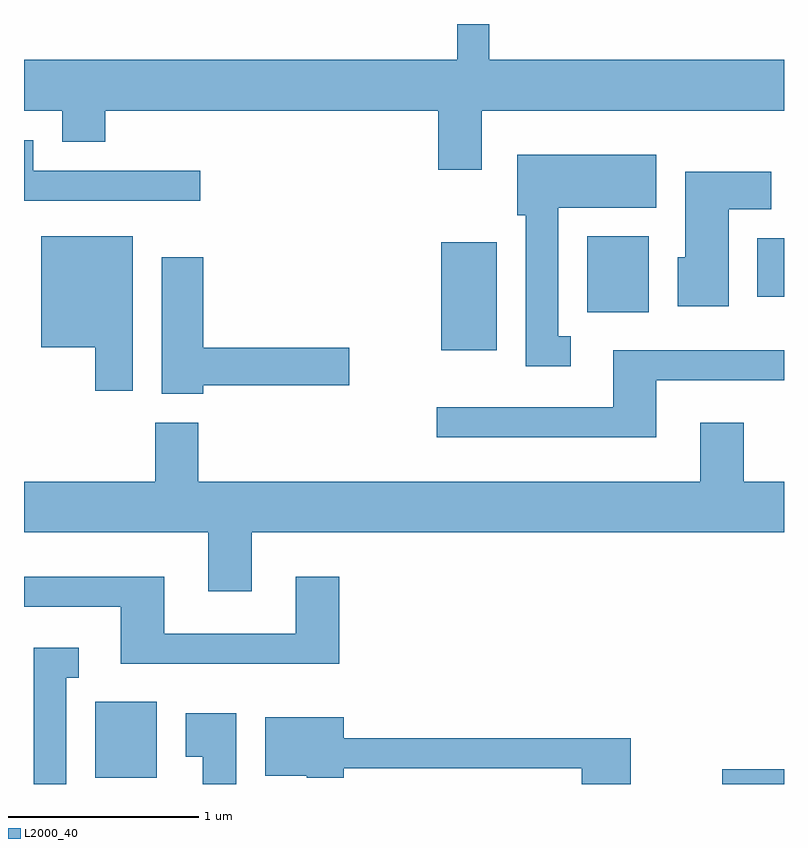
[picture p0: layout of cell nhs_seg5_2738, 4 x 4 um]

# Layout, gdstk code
import gdstk
lib = gdstk.Library(unit=1e-6, precision=1e-09)
def R(c, l, rs):  # rectangles x0, y0, x1, y1
    for r in rs: c.add(gdstk.rectangle(r[:2], r[2:], *l))
def P(c, l, *ps):  # polygons
    for p in ps: c.add(gdstk.Polygon(p, *l))
L2000_40 = (2000, 40)

nhs_seg5_2738 = lib.new_cell('nhs_seg5_2738')
R(nhs_seg5_2738, L2000_40, [(269.286,1522.072,269.611,1522.149), (265.986,1522.106,266.309,1522.504), (267.806,1524.356,268.099,1524.924), (268.576,1524.556,268.899,1524.954), (269.471,1524.636,269.611,1524.944)])
P(nhs_seg5_2738, L2000_40, [(268.019,1525.616),(269.611,1525.616),(269.611,1525.884),(268.059,1525.884),(268.059,1526.072),(267.891,1526.072),(267.891,1525.884),(265.611,1525.884),(265.611,1525.616),(265.811,1525.616),(265.811,1525.451),(266.039,1525.451),(266.039,1525.616),(267.791,1525.616),(267.791,1525.306),(268.019,1525.306)],
  [(266.538,1525.299),(265.659,1525.299),(265.659,1525.459),(265.611,1525.459),(265.611,1525.141),(266.538,1525.141)],
  [(268.488,1524.429),(268.424,1524.429),(268.424,1525.106),(268.939,1525.106),(268.939,1525.384),(268.206,1525.384),(268.206,1525.066),(268.251,1525.066),(268.251,1524.271),(268.488,1524.271)],
  [(269.319,1525.096),(269.544,1525.096),(269.544,1525.294),(269.091,1525.294),(269.091,1524.844),(269.051,1524.844),(269.051,1524.586),(269.319,1524.586)],
  [(266.184,1524.954),(265.701,1524.954),(265.701,1524.371),(265.986,1524.371),(265.986,1524.141),(266.184,1524.141)],
  [(266.554,1524.171),(267.324,1524.171),(267.324,1524.369),(266.554,1524.369),(266.554,1524.844),(266.336,1524.844),(266.336,1524.126),(266.554,1524.126)],
  [(268.939,1524.196),(269.611,1524.196),(269.611,1524.354),(268.711,1524.354),(268.711,1524.054),(267.783,1524.054),(267.783,1523.896),(268.939,1523.896)],
  [(266.809,1523.396),(269.611,1523.396),(269.611,1523.664),(269.399,1523.664),(269.399,1523.974),(269.171,1523.974),(269.171,1523.664),(266.529,1523.664),(266.529,1523.974),(266.301,1523.974),(266.301,1523.664),(265.611,1523.664),(265.611,1523.396),(266.581,1523.396),(266.581,1523.086),(266.809,1523.086)],
  [(267.269,1523.164),(267.041,1523.164),(267.041,1522.864),(266.349,1522.864),(266.349,1523.164),(265.611,1523.164),(265.611,1523.006),(266.121,1523.006),(266.121,1522.706),(267.269,1522.706)],
  [(265.834,1522.631),(265.898,1522.631),(265.898,1522.789),(265.661,1522.789),(265.661,1522.072),(265.834,1522.072)],
  [(266.729,1522.444),(266.461,1522.444),(266.461,1522.216),(266.551,1522.216),(266.551,1522.072),(266.729,1522.072)],
  [(268.804,1522.314),(267.294,1522.314),(267.294,1522.424),(266.881,1522.424),(266.881,1522.116),(267.1,1522.116),(267.1,1522.106),(267.294,1522.106),(267.294,1522.156),(268.546,1522.156),(268.546,1522.072),(268.804,1522.072)])

lib.write_gds('nhs_seg5_2738.gds')
